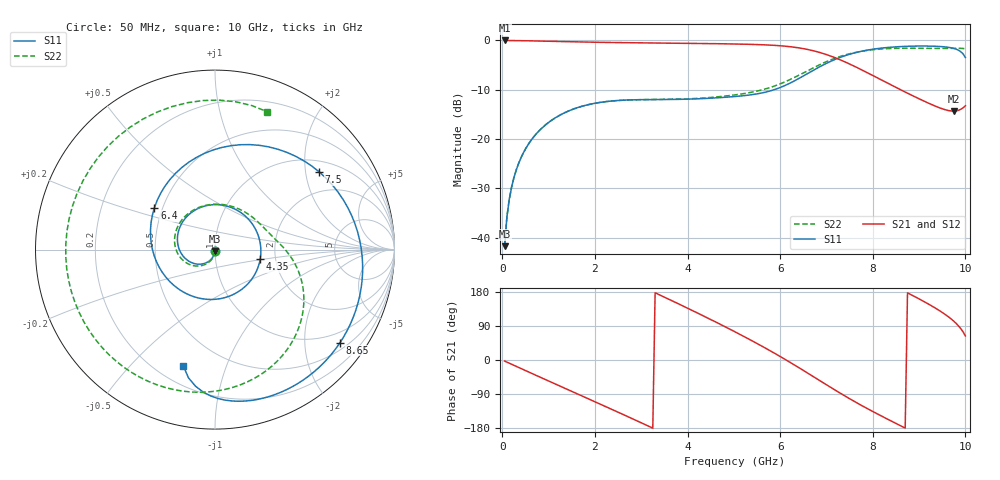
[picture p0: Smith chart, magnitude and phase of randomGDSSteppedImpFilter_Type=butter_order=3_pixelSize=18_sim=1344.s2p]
! freq	dB(S11)	phase(S11)	dB(S12)	phase(S12)
!  dB(S21)	phase(S21)	dB(S22)	phase(S22)
!S-par simulation data
#  GHz  S  DB  R 50
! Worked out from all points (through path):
!   200 points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, 50 MHz to 10 GHz, reference 50 ohm
!   highest |S21| = -0.01 dB at 50 MHz (marker M1); lowest = -14.3 dB at 9.75 GHz (marker M2)
!   group delay of S21, straight-line fit = 177 ps
!   lowest |S11| = -41.7 dB at 50 MHz (marker M3), VSWR 1.02, Z = 50 - j0.819 ohm
!   |S11| at or under -10 dB: start of sweep to 5.869 GHz
!   |S22| runs from -41.7 to -1.6 dB; largest |S21 - S12| = 0
!   S11 on the Smith chart (normalised r, x): 50 MHz: 1.00, -0.02; 4.35 GHz: 1.66, -0.18; 6.4 GHz: 0.45, +0.25; 7.5 GHz: 1.31, +2.38; 8.65 GHz: 0.68, -2.88; 10 GHz: 0.30, -0.72
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0.05  -41.73 -91.3  -0.01 -2.8  -0.01 -2.8  -41.73 -91.0
0.1  -35.76 -95.2  -0.01 -5.6  -0.01 -5.6  -35.76 -94.5
0.2  -29.79 -101.8  -0.02 -11.2  -0.02 -11.2  -29.78 -100.3
0.5  -22.03 -120.1  -0.07 -27.9  -0.07 -27.9  -22.02 -116.5
1.15  -15.67 -158.9  -0.20 -63.7  -0.20 -63.7  -15.67 -149.9
1.75  -13.28 165.0  -0.32 -96.5  -0.32 -96.5  -13.28 -179.8
2.65  -12.10 108.7  -0.46 -146.0  -0.46 -146.0  -12.11 137.5
3.4  -11.99 58.1  -0.53 171.6  -0.53 171.6  -11.98 103.9
4.35  -11.79 -11.6  -0.62 115.9  -0.62 115.9  -11.68 63.3
5.05  -11.36 -69.6  -0.73 72.8  -0.73 72.8  -11.02 35.7
5.8  -10.20 -145.3  -0.96 23.3  -0.96 23.3  -9.50 11.3
6.4  -7.74 145.4  -1.50 -19.9  -1.50 -19.9  -7.07 -8.6
6.7  -6.14 112.1  -2.06 -42.6  -2.06 -42.6  -5.62 -21.6
7.1  -4.21 71.7  -3.20 -72.9  -3.20 -72.9  -3.91 -42.8
7.5  -2.80 36.8  -4.78 -102.2  -4.78 -102.2  -2.70 -67.0
7.95  -1.86 3.9  -6.88 -132.7  -6.88 -132.7  -1.94 -96.2
8.35  -1.41 -20.6  -8.82 -158.0  -8.82 -158.0  -1.65 -124.0
8.65  -1.23 -36.6  -10.24 -176.6  -10.24 -176.6  -1.58 -147.0
9.2  -1.15 -62.7  -12.71 147.8  -12.71 147.8  -1.62 163.2
9.45  -1.23 -74.0  -13.70 129.5  -13.70 129.5  -1.63 136.2
9.75  -1.62 -88.8  -14.33 102.4  -14.33 102.4  -1.59 100.7
10  -3.47 -105.3  -13.26 63.5  -13.26 63.5  -1.71 69.4
